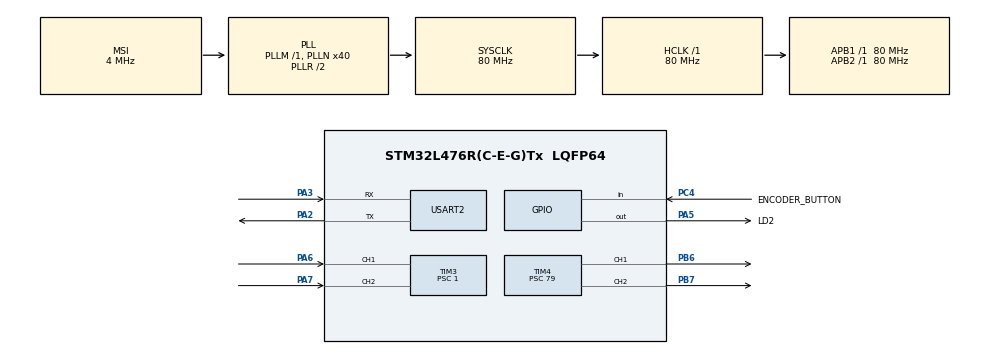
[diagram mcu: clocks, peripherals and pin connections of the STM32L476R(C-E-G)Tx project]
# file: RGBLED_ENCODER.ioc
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Mcu.Family=STM32L4
Mcu.Name=STM32L476R(C-E-G)Tx
Mcu.Package=LQFP64
NVIC.PriorityGroup=NVIC_PRIORITYGROUP_4
NVIC.TIM3_IRQn=true\:10\:0\:true\:false\:true\:true\:true\:true
NVIC.TIM4_IRQn=true\:10\:0\:true\:false\:true\:true\:true\:true
PA13\ (JTMS-SWDIO).Mode=Serial_Wire
PA13\ (JTMS-SWDIO).Signal=SYS_JTMS-SWDIO
PA14\ (JTCK-SWCLK).Mode=Serial_Wire
PA14\ (JTCK-SWCLK).Signal=SYS_JTCK-SWCLK
PA2.Mode=Asynchronous
PA2.Signal=USART2_TX
PA3.Mode=Asynchronous
PA3.Signal=USART2_RX
PA5.GPIO_Label=LD2
PA5.Signal=GPIO_Output
PA6.Signal=S_TIM3_CH1
PA7.Signal=S_TIM3_CH2
PB6.Signal=S_TIM4_CH1
PB7.Signal=S_TIM4_CH2
PC4.GPIO_Label=ENCODER_BUTTON
PC4.GPIO_PuPd=GPIO_PULLUP
PC4.Signal=GPIO_Input
ProjectManager.HeapSize=0x200
ProjectManager.StackSize=0x400
ProjectManager.TargetToolchain=STM32CubeIDE
RCC.AHBFreq_Value=80000000
RCC.APB1Freq_Value=80000000
RCC.APB1TimFreq_Value=80000000
RCC.APB2Freq_Value=80000000
RCC.APB2TimFreq_Value=80000000
RCC.CortexFreq_Value=80000000
RCC.HCLKFreq_Value=80000000
RCC.HSE_VALUE=8000000
RCC.HSI_VALUE=16000000
RCC.LSE_VALUE=32768
RCC.MSI_VALUE=4000000
RCC.PLLN=40
RCC.SYSCLKFreq_VALUE=80000000
RCC.SYSCLKSource=RCC_SYSCLKSOURCE_PLLCLK
RCC.VCOOutputFreq_Value=160000000
SH.S_TIM3_CH1.0=TIM3_CH1,Encoder_Interface
SH.S_TIM3_CH2.0=TIM3_CH2,Encoder_Interface
SH.S_TIM4_CH1.0=TIM4_CH1,PWM Generation1 CH1
SH.S_TIM4_CH2.0=TIM4_CH2,PWM Generation2 CH2
TIM3.IC1Filter=3
TIM3.IC2Filter=3
TIM3.Period=69
TIM3.Prescaler=1
TIM4.Channel-PWM\ Generation1\ CH1=TIM_CHANNEL_1
TIM4.Channel-PWM\ Generation2\ CH2=TIM_CHANNEL_2
TIM4.OCPolarity_1=TIM_OCPOLARITY_LOW
TIM4.OCPolarity_2=TIM_OCPOLARITY_LOW
TIM4.Period=9999
TIM4.Prescaler=79
TIM4.Pulse-PWM\ Generation1\ CH1=50
TIM4.Pulse-PWM\ Generation2\ CH2=200
USART2.VirtualMode-Asynchronous=VM_ASYNC
VP_TIM4_VS_ClockSourceINT.Mode=Internal
board=custom

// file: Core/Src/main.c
/* USER CODE BEGIN Header */
/**
  ******************************************************************************
  * @file           : main.c
  * @brief          : Main program body
  ******************************************************************************
  * @attention
  *
  * Copyright (c) 2023 STMicroelectronics.
  * All rights reserved.
  *
  * This software is licensed under terms that can be found in the LICENSE file
  * in the root directory of this software component.
  * If no LICENSE file comes with this software, it is provided AS-IS.
  *
  ******************************************************************************
  */
/* USER CODE END Header */
#include "main.h"

/* USER CODE BEGIN Includes */
#include <math.h>
#include <stdio.h>
#include <string.h>
/* USER CODE END Includes */

/* USER CODE BEGIN PD */
#define PI_ 3.1415926535f
/* USER CODE END PD */

TIM_HandleTypeDef htim3;
TIM_HandleTypeDef htim4;

UART_HandleTypeDef huart2;

void SystemClock_Config(void);
static void MX_GPIO_Init(void);
static void MX_TIM3_Init(void);
static void MX_USART2_UART_Init(void);
static void MX_TIM4_Init(void);

/* USER CODE BEGIN 0 */

int __io_putchar(int ch)
{
  if (ch == '\n') {
    __io_putchar('\r');
  }

  HAL_UART_Transmit(&huart2, (uint8_t*)&ch, 1, HAL_MAX_DELAY);

  return 1;
}

float calc_pwm(float val)
{
    const float k = 0.13f;
    const float x0 = 70.0f;
    return 10000.0f / (1.0f + exp(-k * (val - x0)));
}

void HAL_TIM_PeriodElapsedCallback(TIM_HandleTypeDef *htim) {
	if (htim == &htim4) {
		HAL_GPIO_TogglePin(LD2_GPIO_Port, LD2_Pin);
	}
}

volatile uint32_t captured_value;

void HAL_TIM_IC_CaptureCallback(TIM_HandleTypeDef *htim)
{
  if (htim == &htim3) {
    switch (HAL_TIM_GetActiveChannel(&htim3)) {
      case HAL_TIM_ACTIVE_CHANNEL_1:
        captured_value = HAL_TIM_ReadCapturedValue(htim, TIM_CHANNEL_1);
        break;
      default:
        break;
    }
  }
}

/* USER CODE END 0 */

int main(void)
{

  /* MCU Configuration--------------------------------------------------------*/

  /* Reset of all peripherals, Initializes the Flash interface and the Systick. */
  HAL_Init();

  /* Configure the system clock */
  SystemClock_Config();

  /* Initialize all configured peripherals */
  MX_GPIO_Init();
  MX_TIM3_Init();
  MX_USART2_UART_Init();
  MX_TIM4_Init();
  /* USER CODE BEGIN 2 */
  HAL_TIM_Encoder_Start(&htim3, TIM_CHANNEL_ALL);
  HAL_TIM_Base_Start_IT(&htim4);
  HAL_TIM_PWM_Start(&htim4, TIM_CHANNEL_1);
  HAL_TIM_PWM_Start(&htim4, TIM_CHANNEL_2);
  /* USER CODE END 2 */

  /* Infinite loop */
  /* USER CODE BEGIN WHILE */
  int counter = 0;
  int old_value = 0;
  int scaler_helper = 0;
  int scaler = 1;

  printf("Do not forget to select scaler by pressing button\n");
  while (1)
  {
	  int value = __HAL_TIM_GET_COUNTER(&htim3);

	  if (value >= 35) scaler_helper = 70 - value;
	  else scaler_helper = value;

	  if (value != old_value) {
	  	      printf("value = %d\nscaler = %d\n", value, scaler_helper);
	  	      old_value = value;
	  }

	  if (HAL_GPIO_ReadPin(ENCODER_BUTTON_GPIO_Port, ENCODER_BUTTON_Pin) == GPIO_PIN_RESET) {
		  scaler = scaler_helper;
	  }

//	  float r = 50 * (1.0f + sin(counter / 100.0f));
//	  float g = 50 * (1.0f + sin(1.5f * counter / 100.0f));
//	  float b = 50 * (1.0f + sin(2.0f * counter / 100.0f));
	  float r = 50 * (1.0f + sin(counter * scaler / 100.0f));
	  float b = 50 * (1.0f + sin((counter * scaler / 100.0f) - PI_));
	  __HAL_TIM_SET_COMPARE(&htim4, TIM_CHANNEL_1, calc_pwm(b));
	  __HAL_TIM_SET_COMPARE(&htim4, TIM_CHANNEL_2, calc_pwm(r));

	  HAL_Delay(10);
	  counter++;
	  if (counter == 32000) counter = 0;

//	  while (HAL_GPIO_ReadPin(ENCODER_BUTTON_GPIO_Port, ENCODER_BUTTON_Pin) == GPIO_PIN_RESET) {
//	  }

    /* USER CODE END WHILE */

  }
}

void SystemClock_Config(void)
{
  RCC_OscInitTypeDef RCC_OscInitStruct = {0};
  RCC_ClkInitTypeDef RCC_ClkInitStruct = {0};

  /** Configure the main internal regulator output voltage
  */
  if (HAL_PWREx_ControlVoltageScaling(PWR_REGULATOR_VOLTAGE_SCALE1) != HAL_OK)
  {
    Error_Handler();
  }

  /** Initializes the RCC Oscillators according to the specified parameters
  * in the RCC_OscInitTypeDef structure.
  */
  RCC_OscInitStruct.OscillatorType = RCC_OSCILLATORTYPE_MSI;
  RCC_OscInitStruct.MSIState = RCC_MSI_ON;
  RCC_OscInitStruct.MSICalibrationValue = 0;
  RCC_OscInitStruct.MSIClockRange = RCC_MSIRANGE_6;
  RCC_OscInitStruct.PLL.PLLState = RCC_PLL_ON;
  RCC_OscInitStruct.PLL.PLLSource = RCC_PLLSOURCE_MSI;
  RCC_OscInitStruct.PLL.PLLM = 1;
  RCC_OscInitStruct.PLL.PLLN = 40;
  RCC_OscInitStruct.PLL.PLLP = RCC_PLLP_DIV7;
  RCC_OscInitStruct.PLL.PLLQ = RCC_PLLQ_DIV2;
  RCC_OscInitStruct.PLL.PLLR = RCC_PLLR_DIV2;
  if (HAL_RCC_OscConfig(&RCC_OscInitStruct) != HAL_OK)
  {
    Error_Handler();
  }

  /** Initializes the CPU, AHB and APB buses clocks
  */
  RCC_ClkInitStruct.ClockType = RCC_CLOCKTYPE_HCLK|RCC_CLOCKTYPE_SYSCLK
                              |RCC_CLOCKTYPE_PCLK1|RCC_CLOCKTYPE_PCLK2;
  RCC_ClkInitStruct.SYSCLKSource = RCC_SYSCLKSOURCE_PLLCLK;
  RCC_ClkInitStruct.AHBCLKDivider = RCC_SYSCLK_DIV1;
  RCC_ClkInitStruct.APB1CLKDivider = RCC_HCLK_DIV1;
  RCC_ClkInitStruct.APB2CLKDivider = RCC_HCLK_DIV1;

  if (HAL_RCC_ClockConfig(&RCC_ClkInitStruct, FLASH_LATENCY_4) != HAL_OK)
  {
    Error_Handler();
  }
}

static void MX_TIM3_Init(void)
{

  TIM_Encoder_InitTypeDef sConfig = {0};
  TIM_MasterConfigTypeDef sMasterConfig = {0};

  htim3.Instance = TIM3;
  htim3.Init.Prescaler = 1;
  htim3.Init.CounterMode = TIM_COUNTERMODE_UP;
  htim3.Init.Period = 69;
  htim3.Init.ClockDivision = TIM_CLOCKDIVISION_DIV1;
  htim3.Init.AutoReloadPreload = TIM_AUTORELOAD_PRELOAD_DISABLE;
  sConfig.EncoderMode = TIM_ENCODERMODE_TI1;
  sConfig.IC1Polarity = TIM_ICPOLARITY_RISING;
  sConfig.IC1Selection = TIM_ICSELECTION_DIRECTTI;
  sConfig.IC1Prescaler = TIM_ICPSC_DIV1;
  sConfig.IC1Filter = 3;
  sConfig.IC2Polarity = TIM_ICPOLARITY_RISING;
  sConfig.IC2Selection = TIM_ICSELECTION_DIRECTTI;
  sConfig.IC2Prescaler = TIM_ICPSC_DIV1;
  sConfig.IC2Filter = 3;
  if (HAL_TIM_Encoder_Init(&htim3, &sConfig) != HAL_OK)
  {
    Error_Handler();
  }
  sMasterConfig.MasterOutputTrigger = TIM_TRGO_RESET;
  sMasterConfig.MasterSlaveMode = TIM_MASTERSLAVEMODE_DISABLE;
  if (HAL_TIMEx_MasterConfigSynchronization(&htim3, &sMasterConfig) != HAL_OK)
  {
    Error_Handler();
  }

}

static void MX_TIM4_Init(void)
{

  TIM_ClockConfigTypeDef sClockSourceConfig = {0};
  TIM_MasterConfigTypeDef sMasterConfig = {0};
  TIM_OC_InitTypeDef sConfigOC = {0};

  htim4.Instance = TIM4;
  htim4.Init.Prescaler = 79;
  htim4.Init.CounterMode = TIM_COUNTERMODE_UP;
  htim4.Init.Period = 9999;
  htim4.Init.ClockDivision = TIM_CLOCKDIVISION_DIV1;
  htim4.Init.AutoReloadPreload = TIM_AUTORELOAD_PRELOAD_DISABLE;
  if (HAL_TIM_Base_Init(&htim4) != HAL_OK)
  {
    Error_Handler();
  }
  sClockSourceConfig.ClockSource = TIM_CLOCKSOURCE_INTERNAL;
  if (HAL_TIM_ConfigClockSource(&htim4, &sClockSourceConfig) != HAL_OK)
  {
    Error_Handler();
  }
  if (HAL_TIM_PWM_Init(&htim4) != HAL_OK)
  {
    Error_Handler();
  }
  sMasterConfig.MasterOutputTrigger = TIM_TRGO_RESET;
  sMasterConfig.MasterSlaveMode = TIM_MASTERSLAVEMODE_DISABLE;
  if (HAL_TIMEx_MasterConfigSynchronization(&htim4, &sMasterConfig) != HAL_OK)
  {
    Error_Handler();
  }
  sConfigOC.OCMode = TIM_OCMODE_PWM1;
  sConfigOC.Pulse = 50;
  sConfigOC.OCPolarity = TIM_OCPOLARITY_LOW;
  sConfigOC.OCFastMode = TIM_OCFAST_DISABLE;
  if (HAL_TIM_PWM_ConfigChannel(&htim4, &sConfigOC, TIM_CHANNEL_1) != HAL_OK)
  {
    Error_Handler();
  }
  sConfigOC.Pulse = 200;
  if (HAL_TIM_PWM_ConfigChannel(&htim4, &sConfigOC, TIM_CHANNEL_2) != HAL_OK)
  {
    Error_Handler();
  }
  HAL_TIM_MspPostInit(&htim4);

}

static void MX_USART2_UART_Init(void)
{

  huart2.Instance = USART2;
  huart2.Init.BaudRate = 115200;
  huart2.Init.WordLength = UART_WORDLENGTH_8B;
  huart2.Init.StopBits = UART_STOPBITS_1;
  huart2.Init.Parity = UART_PARITY_NONE;
  huart2.Init.Mode = UART_MODE_TX_RX;
  huart2.Init.HwFlowCtl = UART_HWCONTROL_NONE;
  huart2.Init.OverSampling = UART_OVERSAMPLING_16;
  huart2.Init.OneBitSampling = UART_ONE_BIT_SAMPLE_DISABLE;
  huart2.AdvancedInit.AdvFeatureInit = UART_ADVFEATURE_NO_INIT;
  if (HAL_UART_Init(&huart2) != HAL_OK)
  {
    Error_Handler();
  }

}

static void MX_GPIO_Init(void)
{
  GPIO_InitTypeDef GPIO_InitStruct = {0};

  /* GPIO Ports Clock Enable */
  __HAL_RCC_GPIOA_CLK_ENABLE();
  __HAL_RCC_GPIOC_CLK_ENABLE();
  __HAL_RCC_GPIOB_CLK_ENABLE();

  /*Configure GPIO pin Output Level */
  HAL_GPIO_WritePin(LD2_GPIO_Port, LD2_Pin, GPIO_PIN_RESET);

  /*Configure GPIO pin : LD2_Pin */
  GPIO_InitStruct.Pin = LD2_Pin;
  GPIO_InitStruct.Mode = GPIO_MODE_OUTPUT_PP;
  GPIO_InitStruct.Pull = GPIO_NOPULL;
  GPIO_InitStruct.Speed = GPIO_SPEED_FREQ_LOW;
  HAL_GPIO_Init(LD2_GPIO_Port, &GPIO_InitStruct);

  /*Configure GPIO pin : ENCODER_BUTTON_Pin */
  GPIO_InitStruct.Pin = ENCODER_BUTTON_Pin;
  GPIO_InitStruct.Mode = GPIO_MODE_INPUT;
  GPIO_InitStruct.Pull = GPIO_PULLUP;
  HAL_GPIO_Init(ENCODER_BUTTON_GPIO_Port, &GPIO_InitStruct);

}

void Error_Handler(void)
{
  __disable_irq();
  while (1)
  {
  }
}
